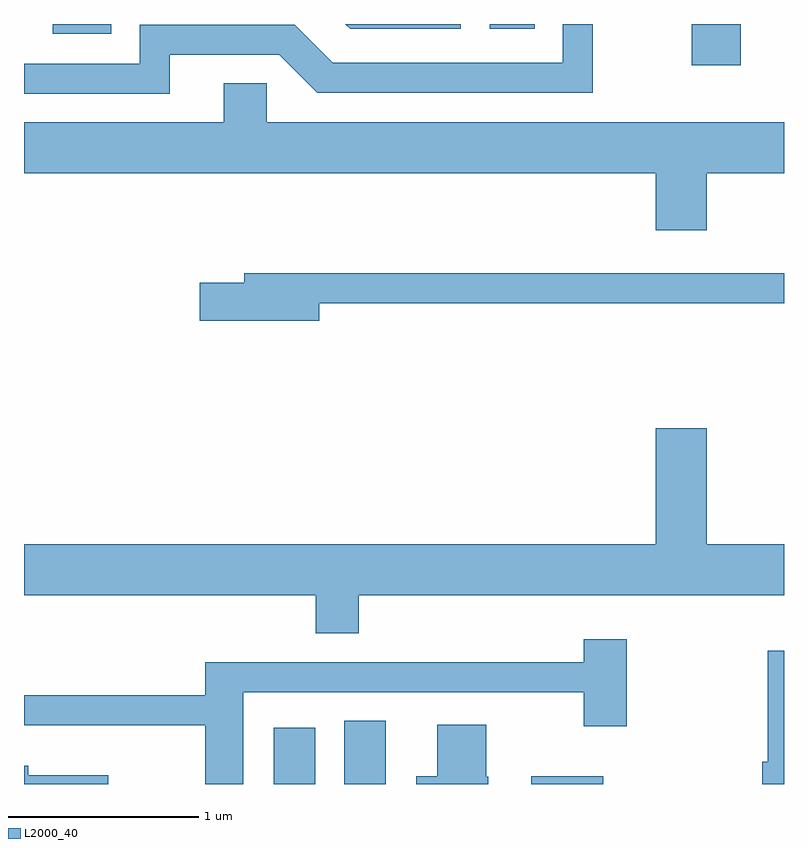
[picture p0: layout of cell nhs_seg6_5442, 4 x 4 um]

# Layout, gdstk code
import gdstk
lib = gdstk.Library(unit=1e-6, precision=1e-09)
def R(c, l, rs):  # rectangles x0, y0, x1, y1
    for r in rs: c.add(gdstk.rectangle(r[:2], r[2:], *l))
def P(c, l, *ps):  # polygons
    for p in ps: c.add(gdstk.Polygon(p, *l))
L2000_40 = (2000, 40)

nhs_seg6_5442 = lib.new_cell('nhs_seg6_5442')
R(nhs_seg6_5442, L2000_40, [(352.926,1540.162,353.144,1540.459), (353.296,1540.162,353.514,1540.494), (354.281,1540.162,354.659,1540.204), (355.126,1543.946,355.384,1544.162), (351.761,1544.111,352.069,1544.162), (354.061,1544.136,354.298,1544.162)])
P(nhs_seg6_5442, L2000_40, [(352.379,1544.001),(352.954,1544.001),(353.154,1543.801),(354.604,1543.801),(354.604,1544.162),(354.446,1544.162),(354.446,1543.959),(353.237,1543.959),(353.037,1544.159),(352.221,1544.159),(352.221,1543.954),(351.611,1543.954),(351.611,1543.796),(352.379,1543.796)],
  [(353.909,1544.162),(353.303,1544.162),(353.329,1544.136),(353.909,1544.136)],
  [(355.204,1543.376),(355.611,1543.376),(355.611,1543.644),(352.889,1543.644),(352.889,1543.849),(352.661,1543.849),(352.661,1543.644),(351.611,1543.644),(351.611,1543.376),(354.936,1543.376),(354.936,1543.076),(355.204,1543.076)],
  [(353.164,1542.691),(355.611,1542.691),(355.611,1542.849),(352.771,1542.849),(352.771,1542.799),(352.536,1542.799),(352.536,1542.601),(353.164,1542.601)],
  [(353.374,1541.156),(355.611,1541.156),(355.611,1541.424),(355.204,1541.424),(355.204,1542.034),(354.936,1542.034),(354.936,1541.424),(351.611,1541.424),(351.611,1541.156),(353.146,1541.156),(353.146,1540.956),(353.374,1540.956)],
  [(352.764,1540.646),(354.556,1540.646),(354.556,1540.466),(354.784,1540.466),(354.784,1540.924),(354.556,1540.924),(354.556,1540.804),(352.566,1540.804),(352.566,1540.629),(351.611,1540.629),(351.611,1540.471),(352.566,1540.471),(352.566,1540.162),(352.764,1540.162)],
  [(355.611,1540.864),(355.526,1540.864),(355.526,1540.279),(355.496,1540.279),(355.496,1540.162),(355.611,1540.162)],
  [(354.054,1540.2),(354.044,1540.2),(354.044,1540.474),(353.786,1540.474),(353.786,1540.204),(353.676,1540.204),(353.676,1540.162),(354.054,1540.162)],
  [(352.054,1540.209),(351.634,1540.209),(351.634,1540.259),(351.611,1540.259),(351.611,1540.162),(352.054,1540.162)])

lib.write_gds('nhs_seg6_5442.gds')
